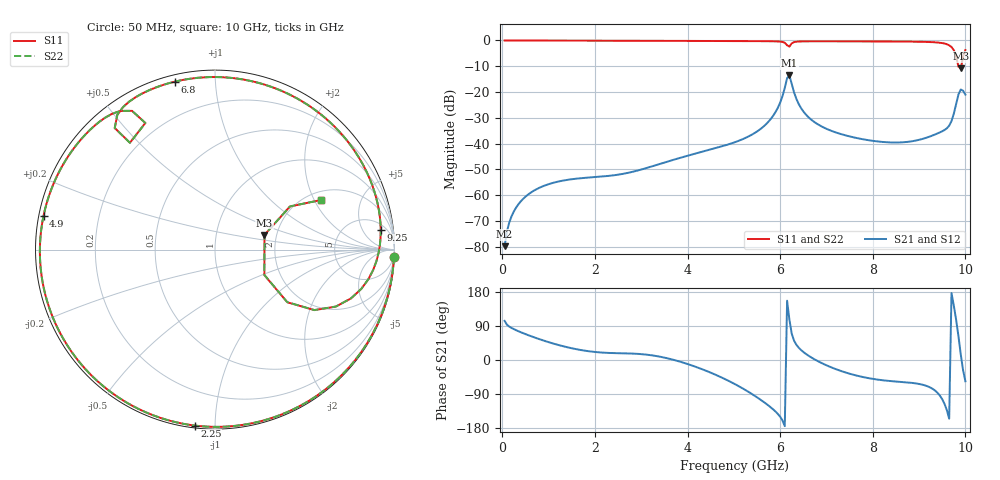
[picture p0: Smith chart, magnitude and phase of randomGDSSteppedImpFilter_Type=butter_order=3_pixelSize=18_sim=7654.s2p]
! freq	dB(S11)	phase(S11)	dB(S12)	phase(S12)
!  dB(S21)	phase(S21)	dB(S22)	phase(S22)
!S-par simulation data
#  GHz  S  DB  R 50
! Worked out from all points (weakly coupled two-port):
!   200 points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, 50 MHz to 10 GHz, reference 50 ohm
!   highest |S21| = -13.58 dB at 6.2 GHz (marker M1); lowest = -79.8 dB at 50 MHz (marker M2)
!   lowest |S11| = -10.8 dB at 9.9 GHz (marker M3), VSWR 1.81, Z = 86.3 + j15.3 ohm
!   |S11| at or under -10 dB: 9.848 GHz to 9.909 GHz (61.59 MHz wide, 0.623 % of centre)
!   |S22| runs from -10.8 to 0.0 dB; largest |S21 - S12| = 0
!   S11 on the Smith chart (normalised r, x): 50 MHz: 2, -48; 2.25 GHz: 0.01, -0.89; 4.9 GHz: 0.01, +0.10; 6.8 GHz: 0.03, +0.79; 9.25 GHz: 8, +12; 10 GHz: 2.35, +2.25
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0.05  -0.01 -2.4  -79.75 103.2  -79.75 103.2  -0.01 -2.4
0.2  -0.03 -9.2  -68.16 84.5  -68.16 84.5  -0.03 -9.2
0.5  -0.03 -22.7  -60.58 68.4  -60.58 68.4  -0.03 -22.7
1  -0.06 -44.9  -55.72 47.1  -55.72 47.1  -0.06 -44.9
1.75  -0.09 -76.7  -53.32 25.2  -53.32 25.2  -0.09 -76.7
2.25  -0.11 -96.6  -52.60 18.9  -52.60 18.9  -0.11 -96.6
3.4  -0.16 -139.2  -47.89 8.8  -47.89 8.8  -0.16 -139.2
4.9  -0.23 168.7  -40.20 -55.9  -40.20 -55.9  -0.23 168.7
5.05  -0.24 163.5  -39.28 -65.4  -39.28 -65.4  -0.24 163.5
5.8  -0.32 136.2  -30.38 -125.2  -30.38 -125.2  -0.32 136.2
6.1  -0.91 120.9  -18.40 -174.6  -18.40 -174.6  -0.91 120.9
6.2  -2.37 128.5  -13.58 106.4  -13.58 106.4  -2.38 128.5
6.4  -0.42 120.1  -24.62 32.6  -24.62 32.6  -0.42 120.1
6.7  -0.34 107.3  -31.12 4.7  -31.12 4.7  -0.34 107.3
6.8  -0.34 103.4  -32.37 -2.2  -32.37 -2.2  -0.34 103.4
7.55  -0.36 74.8  -37.43 -37.9  -37.43 -37.9  -0.36 74.8
8.35  -0.40 44.1  -39.52 -55.2  -39.52 -55.2  -0.40 44.1
9.25  -0.63 6.7  -37.13 -73.2  -37.13 -73.2  -0.63 6.7
9.55  -1.21 -10.9  -34.72 -115.9  -34.72 -115.9  -1.21 -10.9
9.75  -3.76 -31.3  -28.40 143.4  -28.40 143.4  -3.77 -31.3
9.9  -10.83 16.5  -19.02 14.8  -19.02 14.8  -10.80 16.7
10  -3.74 25.1  -21.00 -56.2  -21.00 -56.2  -3.72 25.1
